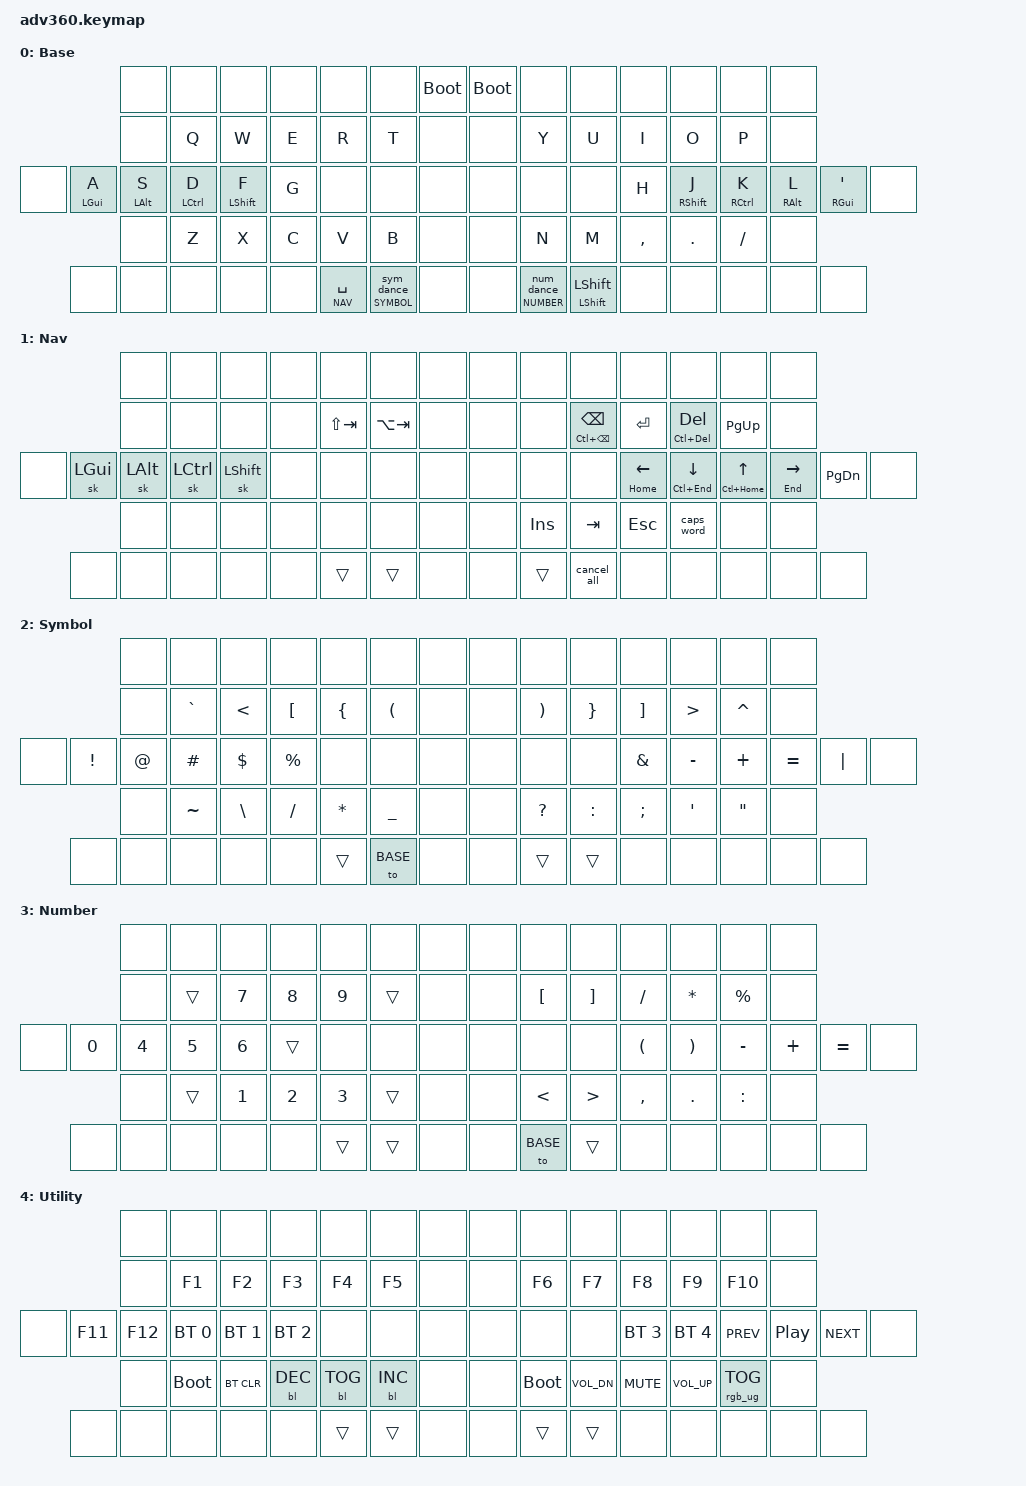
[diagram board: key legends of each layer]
#include <behaviors.dtsi>
#include <dt-bindings/zmk/backlight.h>
#include <dt-bindings/zmk/bt.h>
#include <dt-bindings/zmk/keys.h>
#include <dt-bindings/zmk/rgb.h>

#define BASE 0
#define NAV 1
#define SYMBOL 2
#define NUMBER 3
#define UTILITY 4

/* The 34-key logical layout occupies these positions on the Adv360 matrix. */
#define KEYS_L 15 16 17 18 19 29 30 31 32 33 47 48 49 50 51
#define KEYS_R 22 23 24 25 26 40 41 42 43 44 54 55 56 57 58
#define THUMBS 65 66 69 70

/ {
    behaviors {
        #include "version.dtsi"

        hml: homerow_mods_left {
            compatible = "zmk,behavior-hold-tap";
            label = "HOMEROW_MODS_LEFT";
            #binding-cells = <2>;
            flavor = "balanced";
            tapping-term-ms = <280>;
            quick-tap-ms = <175>;
            require-prior-idle-ms = <150>;
            hold-trigger-key-positions = <KEYS_R THUMBS>;
            hold-trigger-on-release;
            bindings = <&kp>, <&kp>;
        };

        hmr: homerow_mods_right {
            compatible = "zmk,behavior-hold-tap";
            label = "HOMEROW_MODS_RIGHT";
            #binding-cells = <2>;
            flavor = "balanced";
            tapping-term-ms = <280>;
            quick-tap-ms = <175>;
            require-prior-idle-ms = <150>;
            hold-trigger-key-positions = <KEYS_L THUMBS>;
            hold-trigger-on-release;
            bindings = <&kp>, <&kp>;
        };

        sht: sticky_shift_hold {
            compatible = "zmk,behavior-hold-tap";
            label = "STICKY_SHIFT_HOLD";
            #binding-cells = <2>;
            flavor = "balanced";
            tapping-term-ms = <200>;
            quick-tap-ms = <175>;
            bindings = <&kp>, <&sk>;
        };

        nav: navigation_hold_tap {
            compatible = "zmk,behavior-hold-tap";
            label = "NAVIGATION_HOLD_TAP";
            #binding-cells = <2>;
            flavor = "tap-preferred";
            tapping-term-ms = <220>;
            quick-tap-ms = <220>;
            bindings = <&kp>, <&kp>;
        };

        num_sticky: one_shot_number {
            compatible = "zmk,behavior-sticky-key";
            label = "ONE_SHOT_NUMBER";
            #binding-cells = <1>;
            bindings = <&mo>;
            release-after-ms = <1000>;
            quick-release;
        };

        num_lock: number_lock_hold {
            compatible = "zmk,behavior-hold-tap";
            label = "NUMBER_LOCK_HOLD";
            #binding-cells = <2>;
            flavor = "tap-preferred";
            tapping-term-ms = <250>;
            bindings = <&tog>, <&none>;
        };

        num_dance: number_tap_dance {
            compatible = "zmk,behavior-tap-dance";
            label = "NUMBER_TAP_DANCE";
            #binding-cells = <0>;
            tapping-term-ms = <200>;
            bindings = <&num_sticky NUMBER>, <&num_lock NUMBER 0>;
        };

        num: number_hold_tap {
            compatible = "zmk,behavior-hold-tap";
            label = "NUMBER_HOLD_TAP";
            #binding-cells = <2>;
            flavor = "balanced";
            tapping-term-ms = <200>;
            quick-tap-ms = <175>;
            bindings = <&mo>, <&num_dance>;
        };

        sym_sticky: one_shot_symbol {
            compatible = "zmk,behavior-sticky-key";
            label = "ONE_SHOT_SYMBOL";
            #binding-cells = <1>;
            bindings = <&mo>;
            release-after-ms = <1000>;
            quick-release;
        };

        sym_lock: symbol_lock_hold {
            compatible = "zmk,behavior-hold-tap";
            label = "SYMBOL_LOCK_HOLD";
            #binding-cells = <2>;
            flavor = "tap-preferred";
            tapping-term-ms = <250>;
            bindings = <&tog>, <&none>;
        };

        sym_dance: symbol_tap_dance {
            compatible = "zmk,behavior-tap-dance";
            label = "SYMBOL_TAP_DANCE";
            #binding-cells = <0>;
            tapping-term-ms = <200>;
            bindings = <&sym_sticky SYMBOL>, <&sym_lock SYMBOL 0>;
        };

        sym: symbol_hold_tap {
            compatible = "zmk,behavior-hold-tap";
            label = "SYMBOL_HOLD_TAP";
            #binding-cells = <2>;
            flavor = "balanced";
            tapping-term-ms = <200>;
            quick-tap-ms = <175>;
            bindings = <&mo>, <&sym_dance>;
        };

        cancel_all: cancel_all {
            compatible = "zmk,behavior-macro";
            label = "CANCEL_ALL";
            #binding-cells = <0>;
            bindings = <&to BASE>, <&kp K_CANCEL>;
        };
    };

    conditional_layers {
        compatible = "zmk,conditional-layers";

        utility_layer {
            if-layers = <SYMBOL NUMBER>;
            then-layer = <UTILITY>;
        };
    };

    keymap {
        compatible = "zmk,keymap";

        base_layer {
            display-name = "Base";
            bindings = <
                &none &none       &none       &none       &none       &none       &bootloader                         &bootloader &none       &none       &none       &none       &none       &none
                &none &kp Q        &kp W        &kp E        &kp R        &kp T        &none                                 &none       &kp Y        &kp U        &kp I        &kp O        &kp P        &none
                &none &hml LGUI A  &hml LALT S  &hml LCTRL D &hml LSHFT F &kp G        &none &none &none &none &none &none &kp H        &hmr RSHFT J &hmr RCTRL K &hmr RALT L  &hmr RGUI SQT &none
                &none &kp Z        &kp X        &kp C        &kp V        &kp B              &none &none              &kp N        &kp M        &kp COMMA    &kp DOT      &kp FSLH     &none
                &none &none &none &none &none                &lt NAV SPACE &sym SYMBOL 0 &none &none &num NUMBER 0 &sht LSHFT LSHFT &none &none &none &none &none
            >;
        };

        navigation_layer {
            display-name = "Nav";
            bindings = <
                &none &none      &none      &none      &none      &none      &none                                  &none      &none      &none      &none      &none      &none      &none
                &none &none      &none      &none      &kp LS(TAB) &kp LA(TAB) &none                               &none      &none      &nav LC(BSPC) BSPC &kp ENTER &nav LC(DEL) DEL &kp PG_UP &none
                &none &sk LGUI   &sk LALT   &sk LCTRL  &sk LSHFT  &none      &none &none &none &none &none &none &nav HOME LEFT &nav LC(END) DOWN &nav LC(HOME) UP &nav END RIGHT &kp PG_DN &none
                &none &none      &none      &none      &none      &none             &none &none              &kp INS    &kp TAB    &kp ESC    &caps_word &none      &none
                &none &none &none &none &none                &trans        &trans            &none &none &trans           &cancel_all  &none &none            &none        &none &none
            >;
        };

        symbol_layer {
            display-name = "Symbol";
            bindings = <
                &none &none     &none     &none     &none     &none     &none                                  &none     &none     &none     &none     &none     &none     &none
                &none &kp GRAVE &kp LT    &kp LBKT  &kp LBRC  &kp LPAR  &none                                  &none     &kp RPAR  &kp RBRC  &kp RBKT  &kp GT    &kp CARET &none
                &none &kp EXCL  &kp AT    &kp HASH  &kp DLLR  &kp PRCNT &none &none &none &none &none &none &kp AMPS  &kp MINUS &kp PLUS  &kp EQUAL &kp PIPE  &none
                &none &kp TILDE &kp BSLH  &kp FSLH  &kp STAR  &kp UNDER       &none &none              &kp QMARK &kp COLON &kp SEMI  &kp SQT   &kp DQT   &none
                &none &none &none &none &none                &trans       &to BASE         &none &none &trans          &trans       &none &none           &none        &none &none
            >;
        };

        number_layer {
            display-name = "Number";
            bindings = <
                &none &none    &none   &none   &none   &none   &none                                  &none    &none    &none     &none     &none     &none     &none
                &none &trans   &kp N7  &kp N8  &kp N9  &trans  &none                                  &none    &kp LBKT &kp RBKT  &kp FSLH  &kp STAR  &kp PRCNT &none
                &none &kp N0   &kp N4  &kp N5  &kp N6  &trans  &none &none &none &none &none &none &kp LPAR &kp RPAR  &kp MINUS &kp PLUS  &kp EQUAL &none
                &none &trans   &kp N1  &kp N2  &kp N3  &trans         &none &none              &kp LT   &kp GT    &kp COMMA &kp DOT   &kp COLON &none
                &none &none &none &none &none                &trans      &trans           &none &none &to BASE        &trans       &none &none           &none        &none &none
            >;
        };

        utility_layer {
            display-name = "Utility";
            bindings = <
                &none &none        &none        &none        &none        &none        &none                                      &none        &none        &none        &none        &none        &none        &none
                &none &kp F1        &kp F2        &kp F3        &kp F4        &kp F5        &none                                      &none        &kp F6        &kp F7        &kp F8        &kp F9        &kp F10       &none
                &none &kp F11       &kp F12       &bt BT_SEL 0  &bt BT_SEL 1  &bt BT_SEL 2  &none &none &none &none &none &none &bt BT_SEL 3  &bt BT_SEL 4  &kp C_PREV    &kp C_PP      &kp C_NEXT     &none
                &none &bootloader   &bt BT_CLR    &bl BL_DEC     &bl BL_TOG     &bl BL_INC           &none &none                    &bootloader   &kp C_VOL_DN  &kp C_MUTE    &kp C_VOL_UP  &rgb_ug RGB_TOG &none
                &none &none &none &none &none                &trans         &trans                &none &none &trans             &trans       &none &none              &none        &none &none
            >;
        };
    };
};
